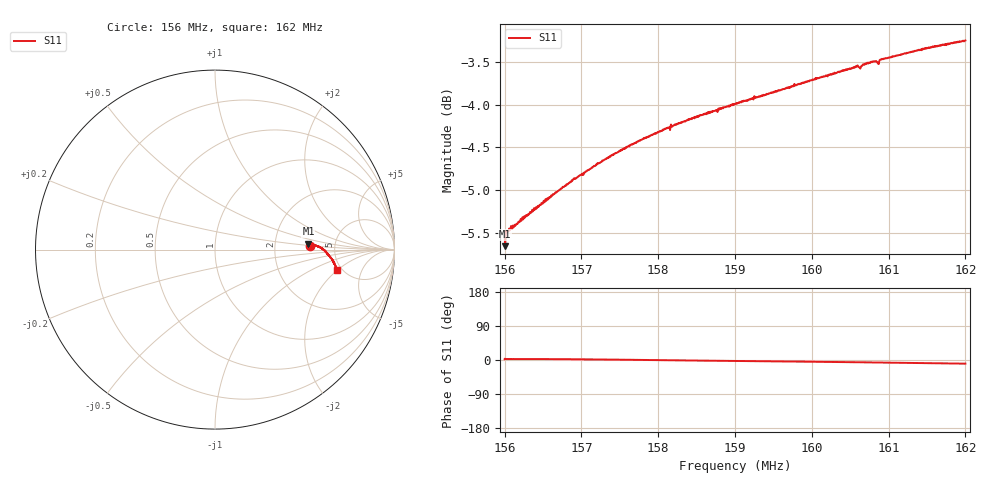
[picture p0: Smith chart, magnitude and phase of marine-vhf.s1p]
! Calibrated averaged scanner-service zoom
# Hz S RI R 50
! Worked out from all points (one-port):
!   1001 points, 156 MHz to 162 MHz, reference 50 ohm
!   lowest |S11| = -5.7 dB at 156.01 MHz (marker M1), VSWR 3.18, Z = 158 + j14.2 ohm
!   |S11| at or under -10 dB: nowhere
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1.56e8  0.5318 0.0219
1.56006e8  0.5204 0.0329
1.56036e8  0.5317 0.0237
1.56042e8  0.531 0.0245
1.56054e8  0.5321 0.0249
1.56186e8  0.5385 0.024
1.56474e8  0.551 0.023
1.5675e8  0.5635 0.0216
1.5702e8  0.5748 0.017
1.57194e8  0.582 0.0148
1.575e8  0.593 0.00826
1.57806e8  0.6027 0.00137
1.58142e8  0.6116 -0.00699
1.5825e8  0.6148 -0.00944
1.58574e8  0.6219 -0.0179
1.59e8  0.6309 -0.0281
1.5975e8  0.6453 -0.0458
1.605e8  0.659 -0.0656
1.60572e8  0.6609 -0.0678
1.60626e8  0.6594 -0.0673
1.60686e8  0.6618 -0.0715
1.60746e8  0.6637 -0.0734
1.60806e8  0.6644 -0.0754
1.60854e8  0.6634 -0.0785
1.6092e8  0.6663 -0.0787
1.6125e8  0.6703 -0.0897
1.61568e8  0.6743 -0.1003
1.62e8  0.6781 -0.1153
